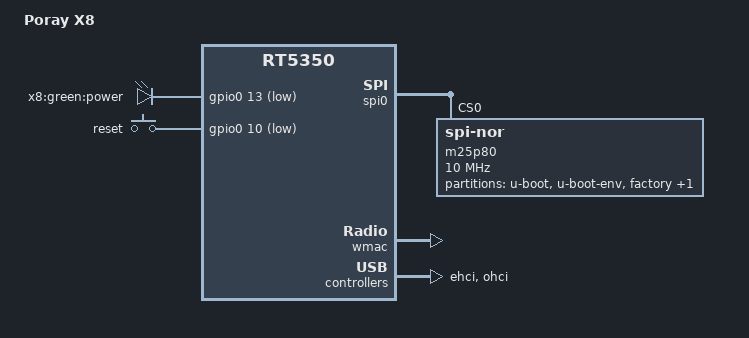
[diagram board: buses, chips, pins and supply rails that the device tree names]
/dts-v1/;

#include "rt5350.dtsi"

/ {
	compatible = "X8", "ralink,rt5350-soc";
	model = "Poray X8";

	gpio-leds {
		compatible = "gpio-leds";

		power {
			label = "x8:green:power";
			gpios = <&gpio0 13 1>;
		};
	};

	gpio-keys-polled {
		compatible = "gpio-keys-polled";
		#address-cells = <1>;
		#size-cells = <0>;
		poll-interval = <20>;

		reset {
			label = "reset";
			gpios = <&gpio0 10 1>;
			linux,code = <0x198>;
		};
	};
};

&spi0 {
	status = "okay";

	m25p80@0 {
		#address-cells = <1>;
		#size-cells = <1>;
		compatible = "jedec,spi-nor";
		reg = <0>;
		linux,modalias = "m25p80", "gd25q64";
		spi-max-frequency = <10000000>;

		partition@0 {
			label = "u-boot";
			reg = <0x0 0x30000>;
			read-only;
		};

		partition@30000 {
			label = "u-boot-env";
			reg = <0x30000 0x10000>;
			read-only;
		};

		factory: partition@40000 {
			label = "factory";
			reg = <0x40000 0x10000>;
			read-only;
		};

		partition@50000 {
			label = "firmware";
			reg = <0x50000 0x7b0000>;
		};
	};
};

&pinctrl {
	state_default: pinctrl0 {
		gpio {
			ralink,group = "i2c", "jtag", "uartf";
			ralink,function = "gpio";
		};
	};
};

&ethernet {
	mtd-mac-address = <&factory 0x4>;
};

&esw {
	mediatek,portmap = <0x2f>;
	mediatek,led_polarity = <1>;
};

&wmac {
	ralink,mtd-eeprom = <&factory 0>;
	ralink,led-polarity = <1>;
};

&ehci {
	status = "okay";
};

&ohci {
	status = "okay";
};
